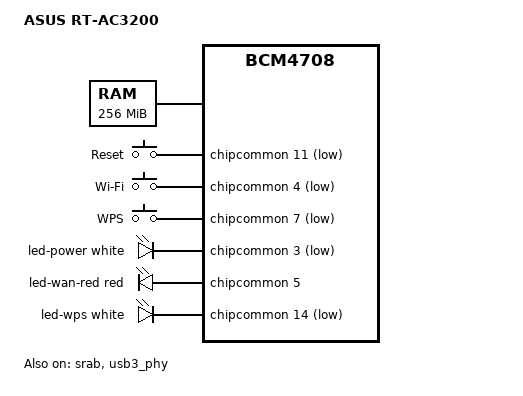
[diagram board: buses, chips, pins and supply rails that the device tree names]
// SPDX-License-Identifier: GPL-2.0-or-later OR MIT
/*
 * Author: Tom Brautaset <tbrautaset@gmail.com>
 */

/dts-v1/;

#include "bcm4709.dtsi"
#include "bcm5301x-nand-cs0-bch8.dtsi"

#include <dt-bindings/leds/common.h>

/ {
	compatible = "asus,rt-ac3200", "brcm,bcm4709", "brcm,bcm4708";
	model = "ASUS RT-AC3200";

	memory@0 {
		reg = <0x00000000 0x08000000>,
		      <0x88000000 0x08000000>;
		device_type = "memory";
	};

	nvram@1c080000 {
		compatible = "brcm,nvram";
		reg = <0x1c080000 0x00180000>;

		et0macaddr: et0macaddr {
			#nvmem-cell-cells = <1>;
		};
	};

	gpio-keys {
		compatible = "gpio-keys";

		button-reset {
			label = "Reset";
			linux,code = <KEY_RESTART>;
			gpios = <&chipcommon 11 GPIO_ACTIVE_LOW>;
		};

		button-wifi {
			label = "Wi-Fi";
			linux,code = <KEY_RFKILL>;
			gpios = <&chipcommon 4 GPIO_ACTIVE_LOW>;
		};

		button-wps {
			label = "WPS";
			linux,code = <KEY_WPS_BUTTON>;
			gpios = <&chipcommon 7 GPIO_ACTIVE_LOW>;
		};
	};

	leds {
		compatible = "gpio-leds";

		led-power {
			color = <LED_COLOR_ID_WHITE>;
			function = LED_FUNCTION_POWER;
			gpios = <&chipcommon 3 GPIO_ACTIVE_LOW>;
			linux,default-trigger = "default-on";
		};

		led-wan-red {
			color = <LED_COLOR_ID_RED>;
			function = LED_FUNCTION_WAN;
			gpios = <&chipcommon 5 GPIO_ACTIVE_HIGH>;
		};

		led-wps {
			color = <LED_COLOR_ID_WHITE>;
			function = LED_FUNCTION_WPS;
			gpios = <&chipcommon 14 GPIO_ACTIVE_LOW>;
		};
	};
};

&gmac0 {
	nvmem-cells = <&et0macaddr 0>;
	nvmem-cell-names = "mac-address";
};

&gmac1 {
	nvmem-cells = <&et0macaddr 1>;
	nvmem-cell-names = "mac-address";
};

&gmac2 {
	nvmem-cells = <&et0macaddr 2>;
	nvmem-cell-names = "mac-address";
};

&nandcs {
	partitions {
		compatible = "fixed-partitions";
		#address-cells = <1>;
		#size-cells = <1>;

		partition@0 {
			reg = <0x00000000 0x00080000>;
			label = "boot";
			read-only;
		};

		partition@80000 {
			reg = <0x00080000 0x00180000>;
			label = "nvram";
		};

		partition@200000 {
			compatible = "brcm,trx";
			reg = <0x00200000 0x07e00000>;
			label = "firmware";
		};
	};
};

&srab {
	status = "okay";

	ports {
		port@0 {
			label = "wan";
		};

		port@1 {
			label = "lan1";
		};

		port@2 {
			label = "lan2";
		};

		port@3 {
			label = "lan3";
		};

		port@4 {
			label = "lan4";
		};
	};
};

&usb2 {
	vcc-gpio = <&chipcommon 9 GPIO_ACTIVE_HIGH>;
};

&usb3_phy {
	status = "okay";
};
